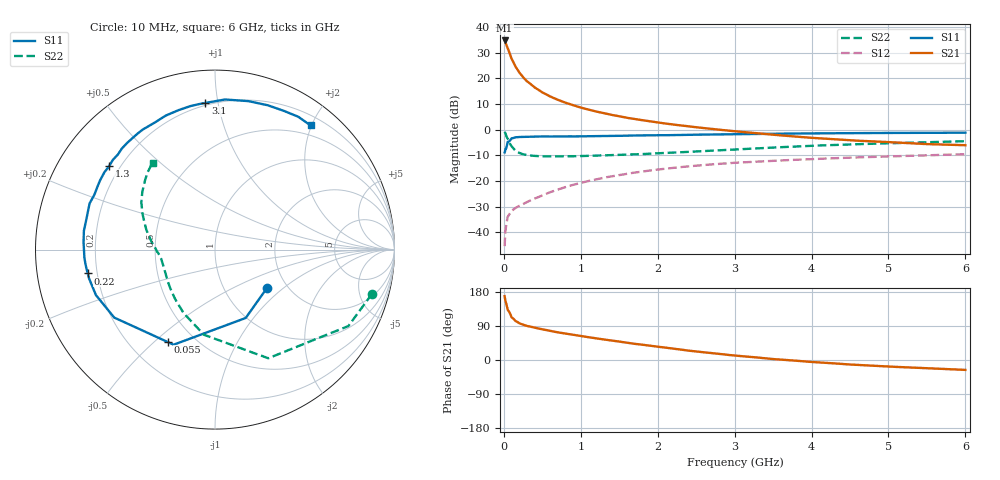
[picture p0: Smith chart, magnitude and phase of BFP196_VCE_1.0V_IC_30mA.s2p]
! Infineon Technologies  Discrete & RF Semiconductors
! BFP196
! VCE = 1.0 V,  IC =  30mA
! Common Emitter S-Parameters:  Jan 2016
# GHz  S  MA  R  50
!  f  S11  S21  S12  S22
! GHz  MAG  ANG  MAG  ANG  MAG  ANG  MAG  ANG
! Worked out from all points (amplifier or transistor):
!   210 points, 10 MHz to 6 GHz, reference 50 ohm
!   highest |S21| = 34.7 dB at 10 MHz (marker M1)
!   |S21| within 3 dB of that: start of sweep to 49.84 MHz
!   unconditionally stable (mu >= 1): 512.5 MHz to 5.47 GHz; 5.543 GHz to end of sweep
!   at 185 MHz: K = 0.61, MSG = 26.5 dB, |S12| = -29.9 dB
!   at 1.52 GHz: K = 1.11, MAG = 9.3 dB, |S12| = -17.5 dB
!   at 6 GHz: K = 1.00, MAG = 1.4 dB, |S12| = -9.6 dB
!   S11 on the Smith chart (normalised r, x): 10 MHz: 1.57, -0.78; 55 MHz: 0.36, -0.55; 220 MHz: 0.16, -0.09; 1.3 GHz: 0.16, +0.34; 3.1 GHz: 0.19, +0.92; 6 GHz: 0.34, +1.99
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0.01  0.3601 -37.0  54.48 168.5  0.0054 78.5  0.9085 -15.8
0.02  0.4176 -65.8  50.83 156.6  0.0105 71.3  0.8566 -29.8
0.05  0.5778 -113.5  38.52 132.7  0.0201 51.9  0.6742 -63.9
0.055  0.5783 -117.1  36.95 131.4  0.0207 50.7  0.6472 -66.2
0.1  0.6773 -146.0  24.14 112.8  0.0261 42.4  0.4784 -97.4
0.15  0.7102 -159.1  16.98 103.1  0.0298 41.3  0.3943 -116.4
0.2  0.7199 -167.1  13.01 97.1  0.0329 42.0  0.3544 -128.7
0.22  0.7213 -169.4  11.98 95.7  0.0339 43.2  0.3444 -132.2
0.26  0.7261 -173.6  10.12 92.5  0.0362 45.5  0.3297 -139.0
0.3  0.7291 -176.5  8.765 90.0  0.039 47.7  0.3212 -143.7
0.4  0.7334 176.8  6.641 85.1  0.0455 51.2  0.3085 -152.5
0.5  0.7379 171.9  5.313 80.9  0.0528 54.1  0.3031 -158.2
0.6  0.736 167.3  4.438 76.9  0.0605 55.7  0.3015 -162.1
0.7  0.7398 163.0  3.819 72.9  0.0681 56.5  0.3022 -165.1
0.9  0.7383 155.7  2.983 66.5  0.0844 56.4  0.3033 -169.6
1.02  0.7439 151.1  2.642 62.8  0.0936 56.1  0.3067 -171.5
1.3  0.751 141.6  2.088 54.0  0.1161 53.7  0.3151 -175.8
2.02  0.7805 120.6  1.367 34.6  0.1685 44.9  0.3476 175.0
3.1  0.8187 93.8  0.903 10.0  0.2307 29.6  0.4183 159.6
4.1  0.8484 75.8  0.679 -6.4  0.2709 17.1  0.4922 146.3
5.1  0.8646 62.3  0.563 -18.2  0.3049 6.0  0.5486 135.3
6  0.873 52.4  0.498 -26.1  0.3328 -4.0  0.5967 125.7
